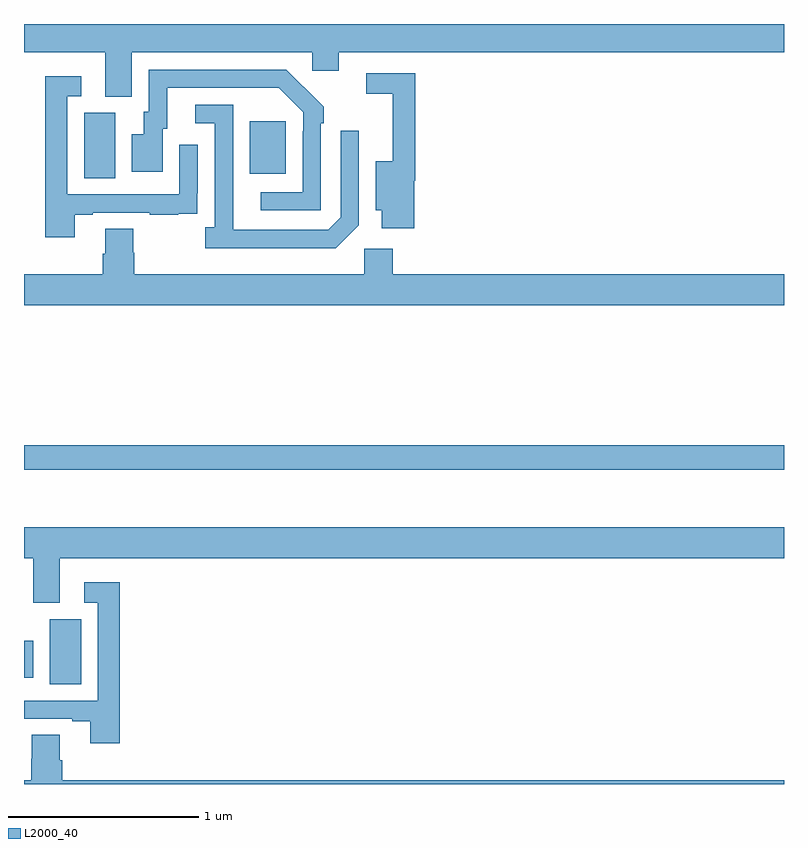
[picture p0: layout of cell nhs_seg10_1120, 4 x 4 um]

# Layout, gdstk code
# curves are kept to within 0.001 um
import gdstk
lib = gdstk.Library(unit=1e-6, precision=1e-09)
def R(c, l, rs):  # rectangles x0, y0, x1, y1
    for r in rs: c.add(gdstk.rectangle(r[:2], r[2:], *l))
def P(c, l, *ps):  # polygons
    for p in ps: c.add(gdstk.Polygon(p, *l))
L2000_40 = (2000, 40)

nhs_seg10_1120 = lib.new_cell('nhs_seg10_1120')
R(nhs_seg10_1120, L2000_40, [(169.136,1261.024,169.3,1261.368), (169,1261.059,169.048,1261.255), (169,1262.154,173,1262.282), (169.316,1263.688,169.48,1264.032), (170.189,1263.713,170.377,1263.988)])
P(nhs_seg10_1120, L2000_40, [(169.567,1264.352),(170.517,1264.352),(170.517,1264.254),(170.656,1264.254),(170.656,1264.352),(173,1264.352),(173,1264.5),(169,1264.5),(169,1264.352),(169.427,1264.352),(169.427,1264.117),(169.567,1264.117)],
  [(170.562,1263.977),(170.577,1263.977),(170.577,1264.065),(170.38,1264.26),(169.656,1264.26),(169.656,1264.038),(169.631,1264.038),(169.631,1263.919),(169.568,1263.919),(169.568,1263.723),(169.729,1263.723),(169.729,1263.948),(169.753,1263.948),(169.753,1264.164),(170.341,1264.164),(170.469,1264.035),(170.469,1263.935),(170.466,1263.935),(170.466,1263.615),(170.247,1263.615),(170.247,1263.519),(170.562,1263.519)],
  [(171.053,1263.674),(171.059,1263.674),(171.059,1264.242),(170.802,1264.242),(170.802,1264.134),(170.942,1264.134),(170.942,1263.778),(170.852,1263.778),(170.852,1263.521),(170.882,1263.521),(170.882,1263.426),(171.053,1263.426)],
  [(169.267,1263.495),(169.363,1263.495),(169.363,1263.507),(169.663,1263.507),(169.663,1263.495),(169.811,1263.495),(169.811,1263.501),(169.913,1263.501),(169.913,1263.61),(169.914,1263.61),(169.914,1263.865),(169.818,1263.865),(169.818,1263.603),(169.227,1263.603),(169.227,1264.119),(169.3,1264.119),(169.3,1264.225),(169.111,1264.225),(169.111,1263.378),(169.267,1263.378)],
  [(170.763,1263.441),(170.763,1263.937),(170.667,1263.937),(170.667,1263.483),(170.601,1263.417),(170.101,1263.417),(170.1,1264.074),(169.902,1264.074),(169.902,1263.978),(170.004,1263.978),(170.004,1263.43),(169.953,1263.43),(169.953,1263.32),(170.642,1263.32)],
  [(173,1263.184),(170.942,1263.184),(170.942,1263.316),(170.79,1263.316),(170.79,1263.184),(169.58,1263.184),(169.58,1263.297),(169.575,1263.297),(169.575,1263.422),(169.427,1263.422),(169.427,1263.29),(169.415,1263.29),(169.415,1263.184),(169,1263.184),(169,1263.02),(173,1263.02)],
  [(169.189,1261.688),(173,1261.688),(173,1261.852),(169,1261.852),(169,1261.688),(169.049,1261.688),(169.049,1261.453),(169.189,1261.453)],
  [(169.505,1261.561),(169.317,1261.561),(169.317,1261.455),(169.389,1261.455),(169.389,1260.939),(169,1260.939),(169,1260.843),(169.253,1260.843),(169.253,1260.831),(169.349,1260.831),(169.349,1260.714),(169.505,1260.714)],
  [(173,1260.52),(169.202,1260.52),(169.202,1260.626),(169.189,1260.626),(169.189,1260.758),(169.042,1260.758),(169.042,1260.633),(169.037,1260.633),(169.037,1260.52),(169,1260.52),(169,1260.5),(173,1260.5)])

lib.write_gds('nhs_seg10_1120.gds')
